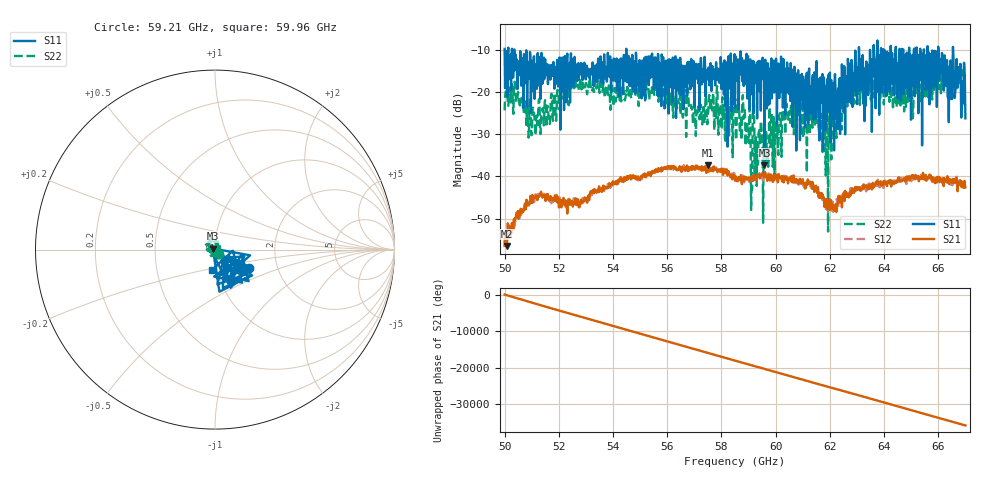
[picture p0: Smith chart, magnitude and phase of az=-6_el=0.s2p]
!Created with skrf (http://scikit-rf.org).
# GHz S RI R 50.0
!freq ReS11 ImS11 ReS21 ImS21 ReS12 ImS12 ReS22 ImS22
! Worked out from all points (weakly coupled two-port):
!   1001 points, 50 GHz to 67 GHz, reference 50 ohm
!   highest |S21| = -37.38 dB at 57.5 GHz (marker M1); lowest = -56.5 dB at 50.09 GHz (marker M2)
!   lowest |S11| = -37.3 dB at 59.59 GHz (marker M3), VSWR 1.03, Z = 48.8 + j0.593 ohm
!   |S11| at or under -10 dB: 50.36 GHz to 54.49 GHz (4.129 GHz wide, 7.88 % of centre); 54.49 GHz to 63.07 GHz (8.581 GHz wide, 14.6 % of centre); 66.01 GHz to 66.54 GHz (532.4 MHz wide, 0.803 % of centre) (the widest 3 of 24)
!   |S22| runs from -53.1 to -14.0 dB; largest |S21 - S12| = 0.0024
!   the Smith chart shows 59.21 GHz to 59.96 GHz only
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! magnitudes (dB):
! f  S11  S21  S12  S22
! 50 GHz  -9.7  -56.5  -56.6  -24.3
! 50.09 GHz  -13.9  -56.5  -54.1  -20.1
! 51.07 GHz  -11.7  -44.8  -45.3  -24.2
! 52.84 GHz  -14.0  -46.1  -45.9  -19.3
! 55.68 GHz  -13.5  -38.0  -38.2  -22.2
! 57 GHz  -23.4  -38.4  -38.2  -22.0
! 57.5 GHz  -16.9  -37.4  -38.2  -25.1
! 58.5 GHz  -23.9  -41.0  -40.3  -24.0
! 59.59 GHz  -37.3  -40.3  -39.4  -29.7
! 59.84 GHz  -12.0  -40.7  -39.8  -25.8
! 60.64 GHz  -14.6  -40.8  -41.4  -22.5
! 61.34 GHz  -24.8  -42.9  -41.4  -25.6
! 62 GHz  -15.3  -48.0  -47.8  -25.0
! 62.55 GHz  -15.0  -45.8  -44.1  -19.4
! 63.01 GHz  -22.8  -43.1  -43.3  -20.0
! 63.33 GHz  -23.2  -42.2  -42.5  -19.2
! 63.69 GHz  -23.8  -41.6  -41.9  -16.3
! 64.18 GHz  -17.7  -41.5  -41.6  -18.7
! 66.08 GHz  -14.9  -41.0  -41.1  -15.6
! 66.42 GHz  -15.3  -40.6  -40.7  -16.2
! 66.75 GHz  -16.5  -42.1  -40.7  -18.2
! 67 GHz  -26.2  -42.6  -42.2  -15.5
